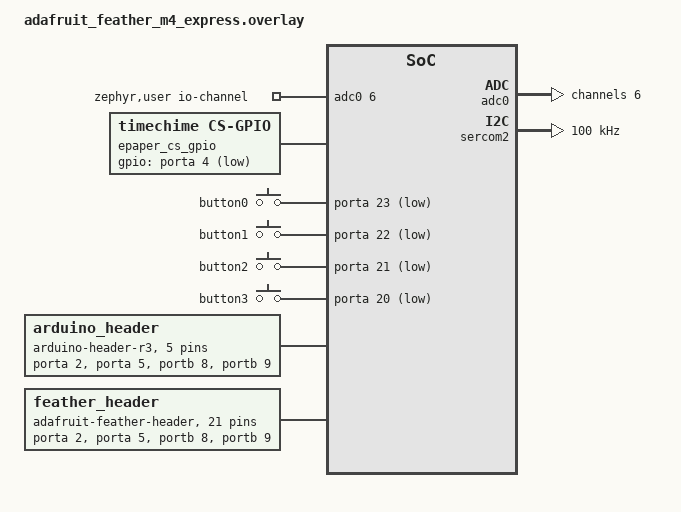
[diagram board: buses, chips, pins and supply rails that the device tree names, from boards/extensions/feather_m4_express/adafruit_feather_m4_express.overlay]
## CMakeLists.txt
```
cmake_minimum_required(VERSION 3.20.0)

# Allow local board extensions
list(APPEND BOARD_ROOT ${CMAKE_CURRENT_SOURCE_DIR})

# Add vs1053 driver
list(APPEND ZEPHYR_EXTRA_MODULES ${CMAKE_CURRENT_SOURCE_DIR}/drivers/vs1053)

set(SHIELD waveshare_epaper_gdew042t2)

find_package(Zephyr)
project(timechime)

# CMake's language init caches the host objcopy before the cross-toolchain can
# override it; force it to the SDK's ARM binary.
set(CMAKE_OBJCOPY "${CROSS_COMPILE}objcopy" CACHE FILEPATH "" FORCE)

FILE(GLOB app_sources src/*.c)
target_sources(app PRIVATE ${app_sources})
```

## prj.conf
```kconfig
CONFIG_LV_Z_MEM_POOL_SIZE=16384
CONFIG_MAIN_STACK_SIZE=8192

CONFIG_DISPLAY=y

CONFIG_INPUT=y

CONFIG_DISK_ACCESS=y
CONFIG_FILE_SYSTEM=y
CONFIG_FAT_FILESYSTEM_ELM=y
CONFIG_FS_FATFS_MOUNT_MKFS=y
CONFIG_DISK_DRIVER_SDMMC=y
CONFIG_SPI=y

CONFIG_AUDIO_VS1053=y

CONFIG_ADC=y

CONFIG_GNSS=y
CONFIG_GNSS_SATELLITES=y
CONFIG_LOG=y
CONFIG_LOG_BUFFER_SIZE=8192
CONFIG_GNSS_DUMP_TO_LOG=y
CONFIG_GNSS_DUMP_TO_LOG_BUF_SIZE=1024

CONFIG_LVGL=y
CONFIG_LV_Z_COLOR_MONO_HW_INVERSION=y
CONFIG_LV_USE_LABEL=y
CONFIG_LV_FONT_MONTSERRAT_14=y

CONFIG_USB_DEVICE_STACK_NEXT=y
```

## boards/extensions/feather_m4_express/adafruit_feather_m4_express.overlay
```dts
/*
 * Feather m4 express pin overlay
 * Map Arduino R3 + arduino_spi for screen compatibility.
 * Map additional GPIOs for navigation buttons.
 * Map Uart for GPS using gnss.
 * Map ADC GPIO to potentiometer for volume.
 *
 *   Arduino R3 | Feather pin | SAMD21 GPIO | Shield signal
 *   -----------+-------------+-------------+--------------
 *   D4         | A0          | PA02        | Unused SDHC CS
 *   D7         | A1          | PA05        | Busy
 *   D8         | A2          | PB08        | Reset
 *   D9         | A3          | PB09        | DC
 *   D10        | A4          | PA04        | E-paper CS
 *   MOSI       | D24         | PB23        | sercom1 MOSI
 *   SCK        | D25         | PA17        | sercom1 SCK
 *   ADC0[6]    | A5          | PA06        | Poteniometer ADC
 */

#include <zephyr/dt-bindings/adc/adc.h>
#include <zephyr/dt-bindings/gpio/arduino-header-r3.h>
#include <zephyr/dt-bindings/i2c/i2c.h>
#include <zephyr/dt-bindings/input/input-event-codes.h>

/ {
	aliases {
		gnss = &gnss;
		sw0 = &button0;
		sw1 = &button1;
		sw2 = &button2;
		sw3 = &button3;
	};

	zephyr,user {
		io-channels = <&adc0 6>;
	};

	epaper_cs_gpio: epaper-cs-gpio {
		compatible = "timechime,cs-gpio";
		gpios = <&porta 4 GPIO_ACTIVE_LOW>;
	};

	buttons {
		compatible = "gpio-keys";
		button0: button_0 {
			gpios = <&porta 23 (GPIO_PULL_UP | GPIO_ACTIVE_LOW)>;
			zephyr,code = <INPUT_KEY_0>;
		};
		button1: button_1 {
			gpios = <&porta 22 (GPIO_PULL_UP | GPIO_ACTIVE_LOW)>;
			zephyr,code = <INPUT_KEY_1>;
		};
		button2: button_2 {
			gpios = <&porta 21 (GPIO_PULL_UP | GPIO_ACTIVE_LOW)>;
			zephyr,code = <INPUT_KEY_2>;
		};
		button3: button_3 {
			gpios = <&porta 20 (GPIO_PULL_UP | GPIO_ACTIVE_LOW)>;
			zephyr,code = <INPUT_KEY_3>;
		};
	};

	arduino_header: connector {
		compatible = "arduino-header-r3";
		#gpio-cells = <2>;
		gpio-map-mask = <0xffffffff 0xffffffc0>;
		gpio-map-pass-thru = <0 0x3f>;
		gpio-map =
			<ARDUINO_HEADER_R3_D4  0 &porta 2 0>,
			<ARDUINO_HEADER_R3_D7  0 &porta 5 0>,
			<ARDUINO_HEADER_R3_D8  0 &portb 8 0>,
			<ARDUINO_HEADER_R3_D9  0 &portb 9 0>,
			<ARDUINO_HEADER_R3_D10 0 &porta 4 0>;
	};

	feather_header: feather_connector {
		compatible = "adafruit-feather-header";
		#gpio-cells = <2>;
		gpio-map-mask = <0xffffffff 0xffffffc0>;
		gpio-map-pass-thru = <0 0x3f>;
		gpio-map =
			< 0 0 &porta  2 0>,  /* A0  */
			< 1 0 &porta  5 0>,  /* A1  */
			< 2 0 &portb  8 0>,  /* A2  */
			< 3 0 &portb  9 0>,  /* A3  */
			< 4 0 &porta  4 0>,  /* A4  */
			< 5 0 &portb  5 0>,  /* A5  */
			< 6 0 &porta 17 0>,  /* SCK */
			< 7 0 &portb 23 0>,  /* MOSI */
			< 8 0 &portb 22 0>,  /* MISO */
			< 9 0 &portb 17 0>,  /* RX  */
			<10 0 &portb 16 0>,  /* TX  */
			<11 0 &porta 14 0>,  /* D4  */
			<12 0 &porta 12 0>,  /* SDA */
			<13 0 &porta 13 0>,  /* SCL */
			<14 0 &porta 16 0>,  /* D5  */
			<15 0 &porta 18 0>,  /* D6  */
			<16 0 &porta 19 0>,  /* D9  */
			<17 0 &porta 20 0>,  /* D10 */
			<18 0 &porta 21 0>,  /* D11 */
			<19 0 &porta 22 0>,  /* D12 */
			<20 0 &porta 23 0>;  /* D13 */
	};
};

&sercom5 {
	current-speed = <9600>;

	gnss: gnss-nmea-generic {
		compatible = "gnss-nmea-generic";
	};
};

&pinctrl {
	adc0_default: adc0_default {
		group1 {
			pinmux = <PA6B_ADC0_AIN6>;
		};
	};
};

&adc0 {
	status = "okay";
	pinctrl-0 = <&adc0_default>;
	pinctrl-names = "default";
	#address-cells = <1>;
	#size-cells = <0>;

	channel@6 {
		reg = <6>;
		zephyr,gain = "ADC_GAIN_1";
		zephyr,reference = "ADC_REF_INTERNAL";
		zephyr,acquisition-time = <ADC_ACQ_TIME_DEFAULT>;
		zephyr,resolution = <12>;
		zephyr,input-positive = <6>;
	};
};

arduino_spi: &sercom1 {
	/* Board DTS has dipo/dopo swapped: PB23 is physically MOSI (PAD3),
	 * PB22 is MISO (PAD2). dopo=2 → MOSI=PAD3, SCK=PAD1; dipo=2 → MISO=PAD2 */
	dipo = <2>;
	dopo = <2>;
};

feather_spi: &sercom1 {
	dipo = <2>;
	dopo = <2>;
};

feather_i2c: &sercom2 {
	compatible = "atmel,sam0-i2c";
	status = "okay";
	#address-cells = <1>;
	#size-cells = <0>;
	clock-frequency = <I2C_BITRATE_STANDARD>;
};
```

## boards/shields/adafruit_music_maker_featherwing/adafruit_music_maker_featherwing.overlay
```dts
/ {
	aliases {
		sdhc0 = &sdhc0_adafruit_music_maker_featherwing;
	};
};

/* Waveshare shield declares its own SD slot with disk-name "SD"; disable it to avoid conflict. */
&waveshare_epaper_sdhc {
	status = "disabled";
	mmc {
		status = "disabled";
	};
};

&feather_spi {
	status = "okay";
	cs-gpios = <&feather_header 14 GPIO_ACTIVE_LOW>, /* D5  - SD card  */
		   <&feather_header 15 GPIO_ACTIVE_LOW>;  /* D6  - VS1053 XCS */

	sdhc0_adafruit_music_maker_featherwing: sdhc@0 {
		compatible = "zephyr,sdhc-spi-slot";
		reg = <0>;
		spi-max-frequency = <12000000>;
		status = "okay";

		sdmmc {
			compatible = "zephyr,sdmmc-disk";
			disk-name = "SD";
			status = "okay";
		};
	};

	vs1053: vs1053@1 {
		compatible = "vlsi,vs1053";
		reg = <1>;
		/* SCI (control) clock; SDI uses sdi-max-frequency (default 8 MHz) */
		spi-max-frequency = <250000>;
		dreq-gpios = <&feather_header 16 GPIO_ACTIVE_HIGH>; /* D9  */
		dcs-gpios  = <&feather_header 17 GPIO_ACTIVE_LOW>;  /* D10 */
		status = "okay";
	};
};
```

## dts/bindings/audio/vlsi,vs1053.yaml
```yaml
description: VLSI VS1053b SPI audio DSP codec

compatible: "vlsi,vs1053"

include: spi-device.yaml

properties:
  dreq-gpios:
    type: phandle-array
    required: true
    description: |
      Data request GPIO (DREQ). Goes high when device is ready for more data.

  dcs-gpios:
    type: phandle-array
    required: true
    description: |
      SDI chip-select GPIO (XDCS).

  reset-gpios:
    type: phandle-array
    required: false
    description: |
      Hardware reset GPIO (XRESET).

  sdi-max-frequency:
    type: int
    default: 8000000
    description: |
      Maximum SPI clock frequency in Hz for the SDI interface.
      Supports up to ~7.28 MHz at 3.3 V.
      Default to 8 MHz.
```

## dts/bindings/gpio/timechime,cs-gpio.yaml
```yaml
description: Standalone chip-select GPIO pin.

compatible: "timechime,cs-gpio"

properties:
  gpios:
    type: phandle-array
    required: true
```

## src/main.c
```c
#include <zephyr/kernel.h>
#include <zephyr/fs/fs.h>
#include <ff.h>

#include "alarm.h"
#include "nav.h"
#include "pot.h"
#include "sound.h"
#include "time.h"
#include "usb.h"
#include "settings.h"

static FATFS fat_fs;
static struct fs_mount_t mp = {
	.type = FS_FATFS,
	.fs_data = &fat_fs,
	.mnt_point = "/SD:",
};

int main(void)
{
	fs_mount(&mp);

	timechime_usb_init();
	timechime_nav_init();
	timechime_alarm_init();
	timechime_pot_init();
	timechime_sound_init();
	timechime_time_load_preferences();

	while (1) {
		timechime_nav_update();
		timechime_alarm_update();
		timechime_sound_update();
		k_sleep(K_MSEC(100));
	}

	return 0;
}
```

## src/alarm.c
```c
#include "alarm.h"
#include "settings.h"
#include "sound.h"
#include "time.h"

static timechime_alarm_t alarms[TIMECHIME_MAX_ALARMS];
static uint8_t num_alarms = 0;

static bool alarms_need_save = false;

void timechime_alarm_init()
{
	num_alarms = timechime_settings_load_alarms(alarms, TIMECHIME_MAX_ALARMS);
}

void timechime_alarm_update()
{
	if (alarms_need_save) {
		timechime_settings_save_alarms(alarms, num_alarms);
		alarms_need_save = false;
	}
}

bool timechime_alarm_get(uint8_t index, timechime_alarm_t **alarm)
{
	if (index >= num_alarms) {
		return false;
	}

	*alarm = &alarms[index];
	return true;
}

uint8_t timechime_alarm_get_count()
{
	return num_alarms;
}

bool timechime_alarm_new(uint8_t hour, uint8_t minute, uint8_t sound_id, bool enabled)
{
	if (num_alarms >= TIMECHIME_MAX_ALARMS) {
		return false;
	}

	alarms[num_alarms].hour = hour;
	alarms[num_alarms].minute = minute;
	alarms[num_alarms].sound_id = sound_id;
	alarms[num_alarms].enabled = enabled;

	num_alarms++;

	alarms_need_save = true;
	return true;
}

bool timechime_alarm_delete(uint8_t index)
{
	if (index >= num_alarms) {
		return false;
	}

	for (uint8_t i = index; i < num_alarms - 1; i++) {
		alarms[i] = alarms[i + 1];
	}

	num_alarms--;

	alarms_need_save = true;
	return true;
}

void timechime_alarm_check_and_queue()
{
	uint8_t current_hour = timechime_time_get_current_hour_24();
	uint8_t current_minute = timechime_time_get_current_minute();

	for (uint8_t i = 0; i < num_alarms; i++) {
		timechime_alarm_t *alarm = &alarms[i];

		if (alarm->enabled && alarm->hour == current_hour &&
		    alarm->minute == current_minute) {
			char sound_file[65];
			timechime_queue_sound_play(alarm->sound_id);
			break;
		}
	}
}

void timechime_alarm_toggle_enabled(uint8_t index)
{
	if (index >= num_alarms) {
		return;
	}

	alarms[index].enabled = !alarms[index].enabled;
	alarms_need_save = true;
}

void timechime_alarm_set_sound(uint8_t index, uint8_t sound_id)
{
	if (index >= num_alarms) {
		return;
	}

	alarms[index].sound_id = sound_id;
	alarms_need_save = true;
}

uint8_t timechime_alarm_get_next(uint8_t current_hour, uint8_t current_minute)
{
	uint16_t current_total = current_hour * 60 + current_minute;
	uint8_t next_index = TIMECHIME_MAX_ALARMS;
	uint16_t next_diff = 0;

	for (uint8_t i = 0; i < num_alarms; i++) {
		timechime_alarm_t *alarm = &alarms[i];
		if (!alarm->enabled) {
			continue;
		}

		uint16_t alarm_total = alarm->hour * 60 + alarm->minute;
		uint16_t diff = (alarm_total + 1440 - current_total) % 1440;

		// Ignore alarm going off now
		if (diff == 0) {
			diff = 1440;
		}

		if (next_index == TIMECHIME_MAX_ALARMS || diff < next_diff) {
			next_index = i;
			next_diff = diff;
		}
	}

	return next_index;
}
```

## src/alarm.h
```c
#ifndef TIMECHIME_ALARM_H
#define TIMECHIME_ALARM_H

#include <stdint.h>
#include <stdbool.h>

#define TIMECHIME_MAX_ALARMS 25

typedef struct {
	uint8_t hour;
	uint8_t minute;
	uint8_t sound_id;
	bool enabled;
} timechime_alarm_t;

// Initialize the alarm system and load alarms from storage.
void timechime_alarm_init();

// Update alarms called repeatedly.
void timechime_alarm_update();

// Get the alarm at the specified index by reference.
bool timechime_alarm_get(uint8_t index, timechime_alarm_t **alarm);

// Get the number of alarms currently stored.
uint8_t timechime_alarm_get_count();

// Create a new alarm if there is space.
bool timechime_alarm_new(uint8_t hour, uint8_t minute, uint8_t sound_id, bool enabled);

// Delete the alarm at the specified index.
bool timechime_alarm_delete(uint8_t index);

// Check if alarm should be played and queue if so.
void timechime_alarm_check_and_queue();

// Toggle alarm to be enabled/disabled by index.
void timechime_alarm_toggle_enabled(uint8_t index);

// Set the sound for the alarm at the specified index.
void timechime_alarm_set_sound(uint8_t index, uint8_t sound_id);

// Get the next alarm that will trigger after the current time.
uint8_t timechime_alarm_get_next(uint8_t current_hour, uint8_t current_minute);

#endif
```

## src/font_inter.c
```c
/*******************************************************************************
 * Size: 40 px
 * Bpp: 1
 * Opts: --bpp 1 --size 40 --no-compress --stride 1 --align 1 --font Inter-ExtraBoldItalic.ttf --symbols 01234567890:ONFAMP --format lvgl -o font_inter.c
 ******************************************************************************/

#ifdef __has_include
    #if __has_include("lvgl.h")
        #ifndef LV_LVGL_H_INCLUDE_SIMPLE
            #define LV_LVGL_H_INCLUDE_SIMPLE
        #endif
    #endif
#endif

#ifdef LV_LVGL_H_INCLUDE_SIMPLE
    #include "lvgl.h"
#else
    #include "lvgl/lvgl.h"
#endif



#ifndef FONT_INTER
#define FONT_INTER 1
#endif

#if FONT_INTER

/*-----------------
 *    BITMAPS
 *----------------*/

/*Store the image of the glyphs*/
static LV_ATTRIBUTE_LARGE_CONST const uint8_t glyph_bitmap[] = {
    /* U+0030 "0" */
    0x0, 0xf, 0xf0, 0x0, 0xf, 0xff, 0x80, 0x3,
    0xff, 0xf8, 0x0, 0xff, 0xff, 0x80, 0x3f, 0xff,
    0xf8, 0xf, 0xf0, 0xff, 0x3, 0xfc, 0xf, 0xe0,
    0x7f, 0x1, 0xfe, 0x1f, 0xc0, 0x1f, 0xc3, 0xf8,
    0x3, 0xf8, 0xfe, 0x0, 0x7f, 0x1f, 0xc0, 0xf,
    0xe3, 0xf8, 0x1, 0xfc, 0xfe, 0x0, 0x3f, 0x9f,
    0xc0, 0x7, 0xf3, 0xf8, 0x1, 0xfc, 0x7f, 0x0,
    0x3f, 0x8f, 0xe0, 0x7, 0xf1, 0xfc, 0x0, 0xfe,
    0x3f, 0x80, 0x3f, 0x87, 0xf0, 0x7, 0xf0, 0xfe,
    0x1, 0xfc, 0x1f, 0xe0, 0x7f, 0x81, 0xfe, 0x1f,
    0xe0, 0x3f, 0xff, 0xf8, 0x3, 0xff, 0xfe, 0x0,
    0x3f, 0xff, 0x80, 0x3, 0xff, 0xe0, 0x0, 0x1f,
    0xe0, 0x0,

    /* U+0031 "1" */
    0x1, 0xfe, 0x7, 0xfc, 0x3f, 0xf8, 0xff, 0xf7,
    0xff, 0xef, 0xff, 0xdf, 0x7f, 0x3c, 0xfe, 0xe1,
    0xfd, 0x83, 0xf8, 0x7, 0xf0, 0xf, 0xe0, 0x3f,
    0x80, 0x7f, 0x0, 0xfe, 0x1, 0xfc, 0x3, 0xf8,
    0x7, 0xf0, 0x1f, 0xc0, 0x3f, 0x80, 0x7f, 0x0,
    0xfe, 0x1, 0xfc, 0x3, 0xf8, 0xf, 0xe0, 0x1f,
    0xc0, 0x3f, 0x80, 0x7f, 0x0, 0xfe, 0x0,

    /* U+0032 "2" */
    0x0, 0x1f, 0xe0, 0x0, 0x3f, 0xfc, 0x0, 0x7f,
    0xff, 0x80, 0x7f, 0xff, 0xe0, 0x7f, 0xff, 0xf0,
    0x3f, 0xc3, 0xfc, 0x3f, 0x80, 0xfe, 0x1f, 0x80,
    0x7f, 0x1f, 0xc0, 0x3f, 0x80, 0x0, 0x1f, 0xc0,
    0x0, 0xf, 0xc0, 0x0, 0xf, 0xe0, 0x0, 0xf,
    0xf0, 0x0, 0xf, 0xf0, 0x0, 0xf, 0xf0, 0x0,
    0x1f, 0xf0, 0x0, 0x1f, 0xf0, 0x0, 0x1f, 0xf0,
    0x0, 0x3f, 0xf0, 0x0, 0x3f, 0xf0, 0x0, 0x3f,
    0xe0, 0x0, 0x3f, 0xe0, 0x0, 0x7f, 0xe0, 0x0,
    0x7f, 0xe0, 0x0, 0x7f, 0xff, 0xfe, 0x3f, 0xff,
    0xfe, 0x1f, 0xff, 0xff, 0xf, 0xff, 0xff, 0x8f,
    0xff, 0xff, 0xc0,

    /* U+0033 "3" */
    0x0, 0x1f, 0xe0, 0x0, 0x7f, 0xfc, 0x0, 0x7f,
    0xff, 0x80, 0xff, 0xff, 0xc0, 0xff, 0xff, 0xf0,
    0x7f, 0x87, 0xf8, 0x7f, 0x1, 0xfc, 0x3f, 0x80,
    0x7e, 0x0, 0x0, 0x7f, 0x0, 0x0, 0x3f, 0x80,
    0x0, 0x7f, 0x80, 0x7, 0xff, 0x80, 0x3, 0xff,
    0x0, 0x3, 0xfe, 0x0, 0x1, 0xff, 0xe0, 0x0,
    0xff, 0xf8, 0x0, 0x3, 0xfe, 0x0, 0x0, 0xff,
    0x0, 0x0, 0x3f, 0x80, 0x0, 0x1f, 0xcf, 0xe0,
    0xf, 0xe7, 0xf0, 0x7, 0xf3, 0xfc, 0x7, 0xf9,
    0xff, 0xf, 0xf8, 0x7f, 0xff, 0xf8, 0x1f, 0xff,
    0xf8, 0xf, 0xff, 0xf8, 0x1, 0xff, 0xf0, 0x0,
    0x3f, 0xe0, 0x0,

    /* U+0034 "4" */
    0x0, 0x1, 0xff, 0x0, 0x0, 0xff, 0x80, 0x0,
    0xff, 0xc0, 0x0, 0xff, 0xe0, 0x0, 0xff, 0xf0,
    0x0, 0xff, 0xf8, 0x0, 0x7f, 0xf8, 0x0, 0x7f,
    0xfc, 0x0, 0x7f, 0x7e, 0x0, 0x7f, 0x7f, 0x0,
    0x7f, 0x3f, 0x80, 0x7f, 0x1f, 0xc0, 0x3f, 0x8f,
    0xc0, 0x3f, 0x87, 0xe0, 0x3f, 0x83, 0xf0, 0x3f,
    0x83, 0xf8, 0x3f, 0xc1, 0xfc, 0x1f, 0xc0, 0xfe,
    0x1f, 0xc0, 0x7e, 0xf, 0xff, 0xff, 0xff, 0xff,
    0xff, 0xff, 0xff, 0xff, 0xfb, 0xff, 0xff, 0xfd,
    0xff, 0xff, 0xfe, 0x0, 0x3, 0xf0, 0x0, 0x1,
    0xf8, 0x0, 0x1, 0xfc, 0x0, 0x0, 0xfe, 0x0,
    0x0, 0x7f, 0x0,

    /* U+0035 "5" */
    0x7, 0xff, 0xff, 0x7, 0xff, 0xff, 0x7, 0xff,
    0xff, 0x7, 0xff, 0xfe, 0xf, 0xff, 0xfe, 0xf,
    0xc0, 0x0, 0xf, 0xc0, 0x0, 0xf, 0xc0, 0x0,
    0x1f, 0x80, 0x0, 0x1f, 0x8f, 0xc0, 0x1f, 0xbf,
    0xf0, 0x1f, 0xff, 0xf8, 0x3f, 0xff, 0xfc, 0x3f,
    0xff, 0xfc, 0x3f, 0xc3, 0xfc, 0xf, 0x1, 0xfe,
    0x0, 0x0, 0xfe, 0x0, 0x0, 0xfe, 0x0, 0x0,
    0xfe, 0x0, 0x0, 0xfc, 0xfe, 0x1, 0xfc, 0xfe,
    0x1, 0xfc, 0xfe, 0x3, 0xf8, 0xff, 0x7, 0xf8,
    0x7f, 0xff, 0xf0, 0x7f, 0xff, 0xe0, 0x3f, 0xff,
    0xc0, 0xf, 0xff, 0x0, 0x3, 0xfc, 0x0,

    /* U+0036 "6" */
    0x0, 0xf, 0xe0, 0x0, 0x3f, 0xfe, 0x0, 0x3f,
    0xff, 0x80, 0x3f, 0xff, 0xe0, 0x3f, 0xff, 0xf0,
    0x3f, 0xff, 0xfc, 0x3f, 0xe1, 0xfe, 0x1f, 0xc0,
    0x7f, 0x1f, 0xc0, 0x0, 0xf, 0xc3, 0xf0, 0xf,
    0xe7, 0xfe, 0x7, 0xf7, 0xff, 0x83, 0xf7, 0xff,
    0xe3, 0xff, 0xff, 0xf1, 0xff, 0x87, 0xfc, 0xff,
    0x81, 0xfe, 0x7f, 0x80, 0x7f, 0x3f, 0x80, 0x3f,
    0x9f, 0xc0, 0x1f, 0xcf, 0xe0, 0xf, 0xc7, 0xf0,
    0x7, 0xe3, 0xf8, 0x7, 0xf1, 0xfc, 0x7, 0xf0,
    0x7f, 0x87, 0xf8, 0x3f, 0xff, 0xf8, 0xf, 0xff,
    0xf8, 0x3, 0xff, 0xf8, 0x0, 0xff, 0xf8, 0x0,
    0xf, 0xe0, 0x0,

    /* U+0037 "7" */
    0x1f, 0xff, 0xff, 0x1f, 0xff, 0xff, 0x1f, 0xff,
    0xff, 0x1f, 0xff, 0xff, 0x3f, 0xff, 0xff, 0x0,
    0x0, 0xfe, 0x0, 0x1, 0xfe, 0x0, 0x3, 0xfc,
    0x0, 0x3, 0xf8, 0x0, 0x7, 0xf8, 0x0, 0xf,
    0xf0, 0x0, 0xf, 0xe0, 0x0, 0x1f, 0xe0, 0x0,
    0x3f, 0xc0, 0x0, 0x3f, 0x80, 0x0, 0x7f, 0x80,
    0x0, 0xff, 0x0, 0x0, 0xfe, 0x0, 0x1, 0xfe,
    0x0, 0x3, 0xfc, 0x0, 0x3, 0xf8, 0x0, 0x7,
    0xf8, 0x0, 0x7, 0xf0, 0x0, 0xf, 0xe0, 0x0,
    0x1f, 0xe0, 0x0, 0x1f, 0xc0, 0x0, 0x3f, 0x80,
    0x0, 0x7f, 0x80, 0x0, 0x7f, 0x0, 0x0,

    /* U+0038 "8" */
    0x0, 0x1f, 0xe0, 0x0, 0x7f, 0xfe, 0x0, 0x7f,
    0xff, 0x80, 0xff, 0xff, 0xe0, 0x7f, 0xff, 0xf0,
    0x7f, 0x83, 0xfc, 0x3f, 0x80, 0xfe, 0x3f, 0x80,
    0x7f, 0x1f, 0xc0, 0x3f, 0xf, 0xe0, 0x3f, 0x83,
    0xf8, 0x3f, 0x80, 0xff, 0xff, 0x80, 0x3f, 0xff,
    0x0, 0xf, 0xff, 0x0, 0x3f, 0xff, 0xe0, 0x3f,
    0xff, 0xf8, 0x3f, 0xc1, 0xfe, 0x3f, 0xc0, 0x7f,
    0x1f, 0xc0, 0x3f, 0x9f, 0xe0, 0x1f, 0xef, 0xe0,
    0xf, 0xe7, 0xf0, 0x7, 0xf3, 0xfc, 0x7, 0xf9,
    0xff, 0x7, 0xf8, 0x7f, 0xff, 0xfc, 0x3f, 0xff,
    0xfc, 0xf, 0xff, 0xfc, 0x1, 0xff, 0xf8, 0x0,
    0x3f, 0xe0, 0x0,

    /* U+0039 "9" */
    0x0, 0x1f, 0xc0, 0x0, 0x7f, 0xfc, 0x0, 0x7f,
    0xff, 0x0, 0xff, 0xff, 0xc0, 0xff, 0xff, 0xf0,
    0x7f, 0x87, 0xf8, 0x7f, 0x1, 0xfc, 0x3f, 0x0,
    0x7f, 0x3f, 0x80, 0x3f, 0x9f, 0xc0, 0x1f, 0xcf,
    0xe0, 0xf, 0xe7, 0xf0, 0xf, 0xf3, 0xf8, 0xf,
    0xf9, 0xfe, 0xf, 0xfc, 0xff, 0xff, 0xfc, 0x3f,
    0xff, 0xfe, 0x1f, 0xff, 0x7f, 0x7, 0xff, 0x3f,
    0x80, 0xfe, 0x3f, 0x80, 0x0, 0x1f, 0xcf, 0xe0,
    0x1f, 0xe3, 0xf8, 0x1f, 0xe1, 0xfe, 0x1f, 0xf0,
    0xff, 0xff, 0xf0, 0x7f, 0xff, 0xf0, 0x1f, 0xff,
    0xf0, 0x7, 0xff, 0xf0, 0x0, 0xff, 0xf0, 0x0,
    0x1f, 0xc0, 0x0,

    /* U+003A ":" */
    0xf, 0x7, 0xe1, 0xfc, 0xff, 0x3f, 0xc7, 0xe0,
    0xf0, 0x0, 0x0, 0x0, 0x0, 0x0, 0x0, 0x0,
    0x0, 0x3, 0xc1, 0xf8, 0xfe, 0x3f, 0x8f, 0xe1,
    0xf8, 0x3c, 0x0,

    /* U+0041 "A" */
    0x0, 0x3, 0xff, 0x0, 0x0, 0x1f, 0xf8, 0x0,
    0x1, 0xff, 0xc0, 0x0, 0xf, 0xff, 0x0, 0x0,
    0xff, 0xf8, 0x0, 0x7, 0xff, 0xc0, 0x0, 0x7f,
    0x7e, 0x0, 0x3, 0xfb, 0xf0, 0x0, 0x3f, 0x9f,
    0x80, 0x1, 0xfc, 0xfe, 0x0, 0x1f, 0xe7, 0xf0,
    0x0, 0xfe, 0x3f, 0x80, 0xf, 0xf1, 0xfc, 0x0,
    0x7f, 0xf, 0xe0, 0x7, 0xf8, 0x7f, 0x0, 0x3f,
    0xc3, 0xfc, 0x3, 0xfc, 0xf, 0xe0, 0x1f, 0xe0,
    0x7f, 0x1, 0xff, 0xff, 0xf8, 0xf, 0xff, 0xff,
    0xc0, 0xff, 0xff, 0xff, 0x7, 0xff, 0xff, 0xf8,
    0x7f, 0xff, 0xff, 0xc3, 0xfc, 0x0, 0xfe, 0x3f,
    0xc0, 0x7, 0xf1, 0xfe, 0x0, 0x3f, 0x9f, 0xe0,
    0x1, 0xfe, 0xff, 0x0, 0xf, 0xff, 0xf0, 0x0,
    0x3f, 0x80,

    /* U+0046 "F" */
    0x7, 0xff, 0xff, 0x83, 0xff, 0xff, 0xc1, 0xff,
    0xff, 0xe0, 0xff, 0xff, 0xe0, 0x7f, 0xff, 0xf0,
    0x7f, 0x0, 0x0, 0x3f, 0x80, 0x0, 0x1f, 0xc0,
    0x0, 0xf, 0xe0, 0x0, 0x7, 0xf0, 0x0, 0x3,
    0xf0, 0x0, 0x3, 0xf8, 0x0, 0x1, 0xfc, 0x0,
    0x0, 0xff, 0xff, 0xe0, 0x7f, 0xff, 0xe0, 0x3f,
    0xff, 0xf0, 0x1f, 0xff, 0xf8, 0x1f, 0xff, 0xfc,
    0xf, 0xe0, 0x0, 0x7, 0xf0, 0x0, 0x3, 0xf8,
    0x0, 0x1, 0xfc, 0x0, 0x0, 0xfc, 0x0, 0x0,
    0xfe, 0x0, 0x0, 0x7f, 0x0, 0x0, 0x3f, 0x80,
    0x0, 0x1f, 0xc0, 0x0, 0xf, 0xe0, 0x0, 0x7,
    0xe0, 0x0, 0x0,

    /* U+004D "M" */
    0x7, 0xff, 0x0, 0x1f, 0xfc, 0x1f, 0xfc, 0x0,
    0x7f, 0xf0, 0x7f, 0xf0, 0x3, 0xff, 0xc1, 0xff,
    0xe0, 0xf, 0xff, 0x7, 0xff, 0x80, 0x3f, 0xfc,
    0x3f, 0xfe, 0x1, 0xff, 0xf0, 0xff, 0xf8, 0x7,
    0xff, 0x83, 0xff, 0xe0, 0x3f, 0xfe, 0xf, 0xff,
    0x80, 0xff, 0xf8, 0x3f, 0x7f, 0x7, 0xef, 0xe0,
    0xfd, 0xfc, 0x1f, 0xbf, 0x87, 0xf7, 0xf0, 0xfc,
    0xfe, 0x1f, 0xcf, 0xc3, 0xf3, 0xf0, 0x7f, 0x3f,
    0x1f, 0xdf, 0xc1, 0xfc, 0xfc, 0x7e, 0x7f, 0x7,
    0xf3, 0xf3, 0xf9, 0xfc, 0x1f, 0x8f, 0xcf, 0xc7,
    0xf0, 0xfe, 0x3f, 0x3f, 0x1f, 0xc3, 0xf8, 0xfd,
    0xf8, 0xfe, 0xf, 0xe1, 0xf7, 0xe3, 0xf8, 0x3f,
    0x87, 0xdf, 0xf, 0xe0, 0xfe, 0x1f, 0xfc, 0x3f,
    0x83, 0xf0, 0x7f, 0xe0, 0xfe, 0x1f, 0xc1, 0xff,
    0x83, 0xf8, 0x7f, 0x7, 0xfc, 0x1f, 0xc1, 0xfc,
    0xf, 0xf0, 0x7f, 0x7, 0xf0, 0x3f, 0x81, 0xfc,
    0x1f, 0xc0, 0xfe, 0x7, 0xf0, 0x7e, 0x3, 0xf0,
    0x1f, 0xc0,

    /* U+004E "N" */
    0x7, 0xf8, 0x0, 0xfe, 0xf, 0xf0, 0x1, 0xfc,
    0x1f, 0xf0, 0x3, 0xf8, 0x3f, 0xe0, 0x7, 0xf0,
    0x7f, 0xe0, 0xf, 0xe1, 0xff, 0xc0, 0x3f, 0x83,
    0xff, 0xc0, 0x7f, 0x7, 0xff, 0x80, 0xfe, 0xf,
    0xff, 0x81, 0xfc, 0x1f, 0xbf, 0x3, 0xf8, 0x3f,
    0x7f, 0x7, 0xf0, 0xfe, 0xfe, 0x1f, 0xc1, 0xfc,
    0xfc, 0x3f, 0x83, 0xf9, 0xfc, 0x7f, 0x7, 0xf3,
    0xf8, 0xfe, 0xf, 0xe3, 0xf9, 0xfc, 0x1f, 0xc7,
    0xf3, 0xf8, 0x7f, 0x7, 0xe7, 0xe0, 0xfe, 0xf,
    0xff, 0xc1, 0xfc, 0xf, 0xff, 0x83, 0xf8, 0x1f,
    0xff, 0x7, 0xf0, 0x1f, 0xfe, 0xf, 0xe0, 0x3f,
    0xfc, 0x3f, 0x80, 0x7f, 0xf0, 0x7f, 0x0, 0x7f,
    0xe0, 0xfe, 0x0, 0xff, 0xc1, 0xfc, 0x0, 0xff,
    0x83, 0xf8, 0x1, 0xff, 0x7, 0xf0, 0x1, 0xfe,
    0x0,

    /* U+004F "O" */
    0x0, 0xf, 0xf0, 0x0, 0x7, 0xff, 0xe0, 0x1,
    0xff, 0xff, 0x0, 0x3f, 0xff, 0xf8, 0x7, 0xff,
    0xff, 0xc0, 0xff, 0xff, 0xfe, 0x1f, 0xf8, 0x3f,
    0xe1, 0xfe, 0x0, 0xff, 0x3f, 0xc0, 0x7, 0xf3,
    0xf8, 0x0, 0x7f, 0x7f, 0x80, 0x7, 0xf7, 0xf0,
    0x0, 0x7f, 0x7f, 0x0, 0x7, 0xff, 0xf0, 0x0,
    0x7f, 0xfe, 0x0, 0x7, 0xff, 0xe0, 0x0, 0x7f,
    0xfe, 0x0, 0xf, 0xff, 0xe0, 0x0, 0xfe, 0xfe,
    0x0, 0x1f, 0xef, 0xe0, 0x1, 0xfe, 0xff, 0x0,
    0x3f, 0xc7, 0xf0, 0x7, 0xf8, 0x7f, 0xc1, 0xff,
    0x87, 0xff, 0xff, 0xf0, 0x3f, 0xff, 0xfe, 0x1,
    0xff, 0xff, 0xc0, 0xf, 0xff, 0xf8, 0x0, 0x7f,
    0xfe, 0x0, 0x0, 0xff, 0x0, 0x0,

    /* U+0050 "P" */
    0x7, 0xff, 0xf8, 0x0, 0xff, 0xff, 0xc0, 0x1f,
    0xff, 0xfc, 0x3, 0xff, 0xff, 0xc0, 0x7f, 0xff,
    0xfc, 0x1f, 0xc0, 0xff, 0x83, 0xf8, 0xf, 0xf0,
    0x7f, 0x0, 0xfe, 0xf, 0xe0, 0x1f, 0xc1, 0xfc,
    0x3, 0xf8, 0x3f, 0x0, 0x7f, 0xf, 0xe0, 0xf,
    0xe1, 0xfc, 0x3, 0xf8, 0x3f, 0x80, 0xff, 0x7,
    0xf0, 0x3f, 0xc0, 0xff, 0xff, 0xf8, 0x1f, 0xff,
    0xfe, 0x7, 0xff, 0xff, 0x80, 0xff, 0xff, 0xc0,
    0x1f, 0xff, 0xe0, 0x3, 0xf8, 0x0, 0x0, 0x7f,
    0x0, 0x0, 0xf, 0xc0, 0x0, 0x3, 0xf8, 0x0,
    0x0, 0x7f, 0x0, 0x0, 0xf, 0xe0, 0x0, 0x1,
    0xfc, 0x0, 0x0, 0x3f, 0x80, 0x0, 0x7, 0xe0,
    0x0, 0x0
};


/*---------------------
 *  GLYPH DESCRIPTION
 *--------------------*/

static const lv_font_fmt_txt_glyph_dsc_t glyph_dsc[] = {
    {.bitmap_index = 0, .adv_w = 0, .box_w = 0, .box_h = 0, .ofs_x = 0, .ofs_y = 0} /* id = 0 reserved */,
    {.bitmap_index = 0, .adv_w = 443, .box_w = 27, .box_h = 29, .ofs_x = 1, .ofs_y = 0},
    {.bitmap_index = 98, .adv_w = 283, .box_w = 15, .box_h = 29, .ofs_x = 3, .ofs_y = 0},
    {.bitmap_index = 153, .adv_w = 408, .box_w = 25, .box_h = 29, .ofs_x = 0, .ofs_y = 0},
    {.bitmap_index = 244, .adv_w = 420, .box_w = 25, .box_h = 29, .ofs_x = 1, .ofs_y = 0},
    {.bitmap_index = 335, .adv_w = 441, .box_w = 25, .box_h = 29, .ofs_x = 1, .ofs_y = 0},
    {.bitmap_index = 426, .adv_w = 406, .box_w = 24, .box_h = 29, .ofs_x = 1, .ofs_y = 0},
    {.bitmap_index = 513, .adv_w = 423, .box_w = 25, .box_h = 29, .ofs_x = 1, .ofs_y = 0},
    {.bitmap_index = 604, .adv_w = 376, .box_w = 24, .box_h = 29, .ofs_x = 1, .ofs_y = 0},
    {.bitmap_index = 691, .adv_w = 425, .box_w = 25, .box_h = 29, .ofs_x = 1, .ofs_y = 0},
    {.bitmap_index = 782, .adv_w = 423, .box_w = 25, .box_h = 29, .ofs_x = 1, .ofs_y = 0},
    {.bitmap_index = 873, .adv_w = 226, .box_w = 10, .box_h = 21, .ofs_x = 2, .ofs_y = 0},
    {.bitmap_index = 900, .adv_w = 493, .box_w = 29, .box_h = 29, .ofs_x = -1, .ofs_y = 0},
    {.bitmap_index = 1006, .adv_w = 375, .box_w = 25, .box_h = 29, .ofs_x = 0, .ofs_y = 0},
    {.bitmap_index = 1097, .adv_w = 604, .box_w = 38, .box_h = 29, .ofs_x = 0, .ofs_y = 0},
    {.bitmap_index = 1235, .adv_w = 490, .box_w = 31, .box_h = 29, .ofs_x = 0, .ofs_y = 0},
    {.bitmap_index = 1348, .adv_w = 495, .box_w = 28, .box_h = 29, .ofs_x = 2, .ofs_y = 0},
    {.bitmap_index = 1450, .adv_w = 417, .box_w = 27, .box_h = 29, .ofs_x = 0, .ofs_y = 0}
};

/*---------------------
 *  CHARACTER MAPPING
 *--------------------*/

static const uint16_t unicode_list_1[] = {
    0x0, 0x5, 0xc, 0xd, 0xe, 0xf
};

/*Collect the unicode lists and glyph_id offsets*/
static const lv_font_fmt_txt_cmap_t cmaps[] =
{
    {
        .range_start = 48, .range_length = 11, .glyph_id_start = 1,
        .unicode_list = NULL, .glyph_id_ofs_list = NULL, .list_length = 0, .type = LV_FONT_FMT_TXT_CMAP_FORMAT0_TINY
    },
    {
        .range_start = 65, .range_length = 16, .glyph_id_start = 12,
        .unicode_list = unicode_list_1, .glyph_id_ofs_list = NULL, .list_length = 6, .type = LV_FONT_FMT_TXT_CMAP_SPARSE_TINY
    }
};

/*-----------------
 *    KERNING
 *----------------*/


/*Pair left and right glyphs for kerning*/
static const uint8_t kern_pair_glyph_ids[] =
{
    1, 8,
    3, 5,
    5, 2,
    8, 1,
    8, 4,
    8, 5,
    8, 6,
    8, 7,
    8, 8,
    8, 9,
    8, 10,
    8, 11,
    10, 8
};

/* Kerning between the respective left and right glyphs
 * 4.4 format which needs to scaled with `kern_scale`*/
static const int8_t kern_pair_values[] =
{
    -12, -10, -29, -10, -11, -37, -6, -10,
    13, -9, -6, -22, -12
};

/*Collect the kern pair's data in one place*/
static const lv_font_fmt_txt_kern_pair_t kern_pairs =
{
    .glyph_ids = kern_pair_glyph_ids,
    .values = kern_pair_values,
    .pair_cnt = 13,
    .glyph_ids_size = 0
};

/*--------------------
 *  ALL CUSTOM DATA
 *--------------------*/

#if LVGL_VERSION_MAJOR == 8
/*Store all the custom data of the font*/
static  lv_font_fmt_txt_glyph_cache_t cache;
#endif

#if LVGL_VERSION_MAJOR >= 8
static const lv_font_fmt_txt_dsc_t font_dsc = {
#else
static lv_font_fmt_txt_dsc_t font_dsc = {
#endif
    .glyph_bitmap = glyph_bitmap,
    .glyph_dsc = glyph_dsc,
    .cmaps = cmaps,
    .kern_dsc = &kern_pairs,
    .kern_scale = 16,
    .cmap_num = 2,
    .bpp = 1,
    .kern_classes = 0,
    .bitmap_format = 0,
#if LVGL_VERSION_MAJOR == 8
    .cache = &cache
#endif

};



/*-----------------
 *  PUBLIC FONT
 *----------------*/

/*Initialize a public general font descriptor*/
#if LVGL_VERSION_MAJOR >= 8
const lv_font_t font_inter = {
#else
lv_font_t font_inter = {
#endif
    .get_glyph_dsc = lv_font_get_glyph_dsc_fmt_txt,    /*Function pointer to get glyph's data*/
    .get_glyph_bitmap = lv_font_get_bitmap_fmt_txt,    /*Function pointer to get glyph's bitmap*/
    .line_height = 29,          /*The maximum line height required by the font*/
    .base_line = 0,             /*Baseline measured from the bottom of the line*/
#if !(LVGL_VERSION_MAJOR == 6 && LVGL_VERSION_MINOR == 0)
    .subpx = LV_FONT_SUBPX_NONE,
#endif
#if LV_VERSION_CHECK(7, 4, 0) || LVGL_VERSION_MAJOR >= 8
    .underline_position = -6,
    .underline_thickness = 4,
#endif
    .static_bitmap = 0,
    .dsc = &font_dsc,          /*The custom font data. Will be accessed by `get_glyph_bitmap/dsc` */
#if LV_VERSION_CHECK(8, 2, 0) || LVGL_VERSION_MAJOR >= 9
    .fallback = NULL,
#endif
    .user_data = NULL,
};



#endif /*#if FONT_INTER*/
```

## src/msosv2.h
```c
/*
 * Copyright (c) 2016-2019 Intel Corporation
 * Copyright (c) 2023-2024 Nordic Semiconductor ASA
 *
 * SPDX-License-Identifier: Apache-2.0
 */

#ifndef ZEPHYR_INCLUDE_MSOSV2_DESCRIPTOR_H
#define ZEPHYR_INCLUDE_MSOSV2_DESCRIPTOR_H

/*
 * Microsoft OS 2.0 platform capability and Microsoft OS 2.0 descriptor set.
 * See Microsoft OS 2.0 Descriptors Specification for reference.
 */

#define SAMPLE_MSOS2_VENDOR_CODE 0x02U
/* Windows version (10)*/
#define SAMPLE_MSOS2_OS_VERSION  0x0A000000UL

/* random GUID {FA611CC3-7057-42EE-9D82-4919639562B3} */
#define WEBUSB_DEVICE_INTERFACE_GUID                                                               \
	'{', 0x00, 'F', 0x00, 'A', 0x00, '6', 0x00, '1', 0x00, '1', 0x00, 'C', 0x00, 'C', 0x00,    \
		'3', 0x00, '-', 0x00, '7', 0x00, '0', 0x00, '5', 0x00, '7', 0x00, '-', 0x00, '4',  \
		0x00, '2', 0x00, 'E', 0x00, 'E', 0x00, '-', 0x00, '9', 0x00, 'D', 0x00, '8', 0x00, \
		'2', 0x00, '-', 0x00, '4', 0x00, '9', 0x00, '1', 0x00, '9', 0x00, '6', 0x00, '3',  \
		0x00, '9', 0x00, '5', 0x00, '6', 0x00, '2', 0x00, 'B', 0x00, '3', 0x00, '}', 0x00, \
		0x00, 0x00, 0x00, 0x00

#define CDC_ACM_DESCRIPTOR_LENGTH 160

struct msosv2_descriptor {
	struct msosv2_descriptor_set_header header;
#if defined(CONFIG_USBD_CDC_ACM_CLASS)
	/*
	 * The composition of this descriptor is specific to the WebUSB example
	 * in its default configuration. If you use it for your application or
	 * change the configuration, you may need to modify this descriptor for
	 * your USB device. The following only covers the case where the CDC
	 * ACM implementation is enabled, and there is only one CDC ACM UART
	 * instance, and the CDC ACM communication interface is the first in
	 * the configuration.
	 */
	struct msosv2_function_subset_header subset_header;
#endif
	struct msosv2_compatible_id compatible_id;
	struct msosv2_guids_property guids_property;
} __packed;

static struct msosv2_descriptor msosv2_desc = {
	.header =
		{
			.wLength = sizeof(struct msosv2_descriptor_set_header),
			.wDescriptorType = MS_OS_20_SET_HEADER_DESCRIPTOR,
			.dwWindowsVersion = sys_cpu_to_le32(SAMPLE_MSOS2_OS_VERSION),
			.wTotalLength = sizeof(msosv2_desc),
		},
#if defined(CONFIG_USBD_CDC_ACM_CLASS)
	.subset_header =
		{
			.wLength = sizeof(struct msosv2_function_subset_header),
			.wDescriptorType = MS_OS_20_SUBSET_HEADER_FUNCTION,
			.bFirstInterface = 0,
			.wSubsetLength = CDC_ACM_DESCRIPTOR_LENGTH,
		},
#endif
	.compatible_id =
		{
			.wLength = sizeof(struct msosv2_compatible_id),
			.wDescriptorType = MS_OS_20_FEATURE_COMPATIBLE_ID,
			.CompatibleID = {'W', 'I', 'N', 'U', 'S', 'B', 0x00, 0x00},
		},
	.guids_property =
		{
			.wLength = sizeof(struct msosv2_guids_property),
			.wDescriptorType = MS_OS_20_FEATURE_REG_PROPERTY,
			.wPropertyDataType = MS_OS_20_PROPERTY_DATA_REG_MULTI_SZ,
			.wPropertyNameLength = 42,
			.PropertyName = {DEVICE_INTERFACE_GUIDS_PROPERTY_NAME},
			.wPropertyDataLength = 80,
			.bPropertyData = {WEBUSB_DEVICE_INTERFACE_GUID},
		},
};

struct bos_msosv2_descriptor {
	struct usb_bos_platform_descriptor platform;
	struct usb_bos_capability_msos cap;
} __packed;

struct bos_msosv2_descriptor bos_msosv2_desc = {
	/*
	 * Microsoft OS 2.0 Platform Capability Descriptor,
	 * see Microsoft OS 2.0 Descriptors Specification
	 */
	.platform =
		{
			.bLength = sizeof(struct usb_bos_platform_descriptor) +
				   sizeof(struct usb_bos_capability_msos),
			.bDescriptorType = USB_DESC_DEVICE_CAPABILITY,
			.bDevCapabilityType = USB_BOS_CAPABILITY_PLATFORM,
			.bReserved = 0,
			/* Microsoft OS 2.0 descriptor platform capability UUID
			 * D8DD60DF-4589-4CC7-9CD2-659D9E648A9F
			 */
			.PlatformCapabilityUUID =
				{
					0xDF,
					0x60,
					0xDD,
					0xD8,
					0x89,
					0x45,
					0xC7,
					0x4C,
					0x9C,
					0xD2,
					0x65,
					0x9D,
					0x9E,
					0x64,
					0x8A,
					0x9F,
				},
		},
	.cap = {.dwWindowsVersion = sys_cpu_to_le32(SAMPLE_MSOS2_OS_VERSION),
		.wMSOSDescriptorSetTotalLength = sys_cpu_to_le16(sizeof(msosv2_desc)),
		.bMS_VendorCode = SAMPLE_MSOS2_VENDOR_CODE,
		.bAltEnumCode = 0x00},
};

static int msosv2_to_host_cb(const struct usbd_context *const ctx,
			     const struct usb_setup_packet *const setup, struct net_buf *const buf)
{
	LOG_INF("Vendor callback to host");

	if (setup->bRequest == SAMPLE_MSOS2_VENDOR_CODE &&
	    setup->wIndex == MS_OS_20_DESCRIPTOR_INDEX) {
		LOG_INF("Get MS OS 2.0 Descriptor Set");

		net_buf_add_mem(buf, &msosv2_desc, MIN(net_buf_tailroom(buf), sizeof(msosv2_desc)));

		return 0;
	}

	return -ENOTSUP;
}

USBD_DESC_BOS_VREQ_DEFINE(bos_vreq_msosv2, sizeof(bos_msosv2_desc), &bos_msosv2_desc,
			  SAMPLE_MSOS2_VENDOR_CODE, msosv2_to_host_cb, NULL);

#endif /* ZEPHYR_INCLUDE_MSOSV2_DESCRIPTOR_H */
```

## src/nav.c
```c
#include <zephyr/kernel.h>
#include <zephyr/input/input.h>
#include <stdbool.h>

#include "alarm.h"
#include "screen_ui.h"
#include "time.h"
#include "nav.h"

// Button values based on input key scancodes.
enum timechime_nav_buttons {
	NAV_BUTTON_0 = 11,
	NAV_BUTTON_1 = 2,
	NAV_BUTTON_2 = 3,
	NAV_BUTTON_3 = 4,
};

typedef enum {
	TIMECHIME_NAV_STATE_SHOW_TIME,
	TIMECHIME_NAV_STATE_NEXT_ALARM,
	TIMECHIME_NAV_STATE_ALARM_LIST,
	TIMECHIME_NAV_STATE_EDIT_SOUND,
	NUM_TIMECHIME_NAV_STATES
} timechime_nav_state_t;

static timechime_nav_state_t current_state = TIMECHIME_NAV_STATE_SHOW_TIME;
static bool needs_screen_update_val = true;

static void button_input_cb(struct input_event *evt, void *user_data)
{
	if (evt->sync == 0) {
		return;
	}

	if (evt->value) {
		timechime_nav_update_state(evt->code);
	}
}

INPUT_CALLBACK_DEFINE(NULL, button_input_cb, NULL);

void timechime_nav_init()
{
	timechime_nav_go_to_state(TIMECHIME_NAV_STATE_SHOW_TIME);
	timechime_screen_init();
}

// ----- Nav state machine -----

uint32_t last_state_change_time = 0;

void timechime_nav_update_state(uint16_t button)
{
	last_state_change_time = k_uptime_get_32();

	switch (current_state) {
	case TIMECHIME_NAV_STATE_SHOW_TIME:
		nav_state_update_show_time(button);
		break;
	case TIMECHIME_NAV_STATE_NEXT_ALARM:
		nav_state_update_next_alarm(button);
		break;
	case TIMECHIME_NAV_STATE_ALARM_LIST:
		nav_state_update_alarm_list(button);
		break;
	case TIMECHIME_NAV_STATE_EDIT_SOUND:
		nav_state_update_edit_sound(button);
		break;
	default:
		timechime_nav_go_to_state(TIMECHIME_NAV_STATE_SHOW_TIME);
		break;
	}
}

// Initialize a new nav state.
void timechime_nav_go_to_state(timechime_nav_state_t state)
{
	if (state < NUM_TIMECHIME_NAV_STATES) {
		current_state = state;
		needs_screen_update_val = true;
	}
}

// Show time screen button mapping.
static enum timechime_nav_show_time_buttons {
	NAV_BUTTON_SHOW_TIME_ALARM_LIST = NAV_BUTTON_0,
	NAV_BUTTON_SHOW_TIME_NEXT_ALARM = NAV_BUTTON_3,
};

// State update in show time screen.
void nav_state_update_show_time(uint16_t button)
{
	switch (button) {
	case NAV_BUTTON_SHOW_TIME_ALARM_LIST:
		timechime_nav_go_to_state(TIMECHIME_NAV_STATE_ALARM_LIST);
		break;
	case NAV_BUTTON_SHOW_TIME_NEXT_ALARM:
		timechime_nav_go_to_state(TIMECHIME_NAV_STATE_NEXT_ALARM);
		break;
	default:
		break;
	}
}

// Next alarm screen button mapping.
static enum timechime_nav_next_alarm_buttons {
	NAV_BUTTON_NEXT_ALARM_ALARM_LIST = NAV_BUTTON_0,
	NAV_BUTTON_NEXT_ALARM_SHOW_TIME = NAV_BUTTON_3,
};

// State update in next alarm screen.
void nav_state_update_next_alarm(uint16_t button)
{
	switch (button) {
	case NAV_BUTTON_NEXT_ALARM_ALARM_LIST:
		timechime_nav_go_to_state(TIMECHIME_NAV_STATE_ALARM_LIST);
		break;
	case NAV_BUTTON_NEXT_ALARM_SHOW_TIME:
		timechime_nav_go_to_state(TIMECHIME_NAV_STATE_SHOW_TIME);
		break;
	default:
		break;
	}
}

// Alarm list screen button mapping.
static enum timechime_nav_alarm_list_buttons {
	NAV_BUTTON_ALARM_LIST_UP = NAV_BUTTON_0,
	NAV_BUTTON_ALARM_LIST_DOWN = NAV_BUTTON_1,
	NAV_BUTTON_ALARM_LIST_EDIT_SOUND = NAV_BUTTON_2,
	NAV_BUTTON_ALARM_LIST_TOGGLE = NAV_BUTTON_3,
};

static volatile uint8_t selected_alarm_index = 0;
static volatile uint8_t selected_sound_index = 0;

// State update in alarm list screen.
void nav_state_update_alarm_list(uint16_t button)
{
	uint8_t alarm_count = timechime_alarm_get_count();

	// Ignore buttons when there are no alarms
	if (alarm_count == 0) {
		return;
	}

	switch (button) {
	case NAV_BUTTON_ALARM_LIST_EDIT_SOUND:
		selected_sound_index = 0;
		timechime_nav_go_to_state(TIMECHIME_NAV_STATE_EDIT_SOUND);
		break;
	case NAV_BUTTON_ALARM_LIST_UP:
		if (selected_alarm_index > 0) {
			selected_alarm_index--;
		} else {
			selected_alarm_index = alarm_count - 1;
		}
		break;
	case NAV_BUTTON_ALARM_LIST_DOWN:
		if (selected_alarm_index + 1 < alarm_count) {
			selected_alarm_index++;
		} else {
			selected_alarm_index = 0;
		}
		break;
	case NAV_BUTTON_ALARM_LIST_TOGGLE:
		timechime_alarm_toggle_enabled(selected_alarm_index);
		break;
	default:
		break;
	}

	needs_screen_update_val = true;
}

// Sound selection screen button mapping.
static enum timechime_nav_edit_sound_buttons {
	NAV_BUTTON_EDIT_SOUND_UP = NAV_BUTTON_0,
	NAV_BUTTON_EDIT_SOUND_DOWN = NAV_BUTTON_1,
	NAV_BUTTON_EDIT_SOUND_BACK = NAV_BUTTON_2,
	NAV_BUTTON_EDIT_SOUND_SELECT = NAV_BUTTON_3,
};

// State update in sound selection screen.
void nav_state_update_edit_sound(uint16_t button)
{
	uint8_t sound_count = timechime_sound_get_count();

	// Ignore buttons other than back when there are no sounds
	if (sound_count == 0 && button != NAV_BUTTON_EDIT_SOUND_BACK) {
		return;
	}

	switch (button) {
	case NAV_BUTTON_EDIT_SOUND_BACK:
		timechime_nav_go_to_state(TIMECHIME_NAV_STATE_ALARM_LIST);
		break;
	case NAV_BUTTON_EDIT_SOUND_UP:
		if (selected_sound_index > 0) {
			selected_sound_index--;
		} else {
			selected_sound_index = sound_count - 1;
		}
		break;
	case NAV_BUTTON_EDIT_SOUND_DOWN:
		if (selected_sound_index + 1 < sound_count) {
			selected_sound_index++;
		} else {
			selected_sound_index = 0;
		}
		break;
	case NAV_BUTTON_EDIT_SOUND_SELECT:
		timechime_alarm_set_sound(selected_alarm_index, selected_sound_index);
		timechime_nav_go_to_state(TIMECHIME_NAV_STATE_ALARM_LIST);
		break;
	default:
		break;
	}

	needs_screen_update_val = true;
}

// ----- Looped nav screen updates -----

void timechime_nav_update()
{
	switch (current_state) {
	case TIMECHIME_NAV_STATE_SHOW_TIME:
		nav_update_show_time();
		break;
	case TIMECHIME_NAV_STATE_ALARM_LIST:
		nav_update_alarm_list();
		break;
	case TIMECHIME_NAV_STATE_NEXT_ALARM:
		nav_update_next_alarm();
		break;
	case TIMECHIME_NAV_STATE_EDIT_SOUND:
		nav_update_edit_sound();
		break;
	default:
		break;
	}
}

// Check if screen needs update and reset flag.
static bool needs_screen_update()
{
	if (needs_screen_update_val) {
		needs_screen_update_val = false;
		return true;
	}

	return false;
}

// Repeated time screen update.
static bool initial_time_update_done = false;

void nav_update_show_time()
{
	if (!initial_time_update_done && needs_screen_update()) {
		timechime_screen_ui_clear();
		timechime_screen_draw_gps_search();

		timechime_screen_draw_button_indicator_set(
			(timechime_sprite_t[]){TIMECHIME_SPRITE_GEAR, TIMECHIME_SPRITE_NONE,
					       TIMECHIME_SPRITE_NONE, TIMECHIME_SPRITE_BELL});

		timechime_screen_wait();
	} else if (timechime_time_updated() || needs_screen_update()) {
		initial_time_update_done = true;

		timechime_screen_ui_clear();
		timechime_screen_draw_current_time(
			timechime_time_get_current_hour(), timechime_time_get_current_minute(),
			timechime_time_using_12hr_format(), timechime_time_current_time_is_pm());

		timechime_screen_draw_button_indicator_set(
			(timechime_sprite_t[]){TIMECHIME_SPRITE_GEAR, TIMECHIME_SPRITE_NONE,
					       TIMECHIME_SPRITE_NONE, TIMECHIME_SPRITE_BELL});

		timechime_screen_wait();
		timechime_alarm_check_and_queue();
	}
}

// Repeated next alarm screen update.
static uint8_t last_next_alarm_index = TIMECHIME_MAX_ALARMS;

void nav_update_next_alarm()
{
	if (!initial_time_update_done && needs_screen_update()) {
		timechime_screen_ui_clear();
		timechime_screen_draw_gps_search();

		timechime_screen_draw_button_indicator_set(
			(timechime_sprite_t[]){TIMECHIME_SPRITE_GEAR, TIMECHIME_SPRITE_NONE,
					       TIMECHIME_SPRITE_NONE, TIMECHIME_SPRITE_TIME});

		timechime_screen_wait();
	}

	bool next_alarm_updated = false;
	bool needs_update = needs_screen_update();

	if (needs_update || timechime_time_updated()) {
		initial_time_update_done = true;

		uint8_t next_alarm_index = timechime_alarm_get_next(
			timechime_time_get_current_hour_24(), timechime_time_get_current_minute());

		if (last_next_alarm_index != next_alarm_index) {
			next_alarm_updated = true;
			last_next_alarm_index = next_alarm_index;
		}

		timechime_alarm_check_and_queue();
	}

	// Do not refresh screen unless update needed or next alarm changed.
	if (needs_update || next_alarm_updated) {
		timechime_alarm_t *next_alarm;
		if (timechime_alarm_get(last_next_alarm_index, &next_alarm)) {
			timechime_screen_ui_clear();

			if (timechime_time_using_12hr_format()) {
				uint8_t hour = timechime_time_convert_to_12_hour(next_alarm->hour);
				bool is_pm = next_alarm->hour >= 12;

				timechime_screen_draw_next_alarm(hour, next_alarm->minute, true,
								 is_pm);
			} else {
				timechime_screen_draw_next_alarm(next_alarm->hour,
								 next_alarm->minute, false, false);
			}

			timechime_screen_draw_button_indicator_set((timechime_sprite_t[]){
				TIMECHIME_SPRITE_GEAR, TIMECHIME_SPRITE_NONE, TIMECHIME_SPRITE_NONE,
				TIMECHIME_SPRITE_TIME});
			timechime_screen_wait();
		}
	}
}

// Repeated alarm list screen update.
void nav_update_alarm_list()
{
	uint32_t current_time = k_uptime_get_32();
	// Go back to default screen after 1 minute of inactivity.
	if (current_time - last_state_change_time > 60000) {
		timechime_nav_go_to_state(TIMECHIME_NAV_STATE_SHOW_TIME);
	}

	// Refresh screen after inputs + 1 second of inactivity.
	else if (current_time - last_state_change_time > 1000 && needs_screen_update()) {
		timechime_screen_ui_clear();

		bool selected_alarm_enabled = false;
		uint8_t alarm_count = timechime_alarm_get_count();
		uint8_t alarm_index_mod = selected_alarm_index % TIMECHIME_SCREEN_UI_MAX_ALARMS;
		uint8_t start_index = selected_alarm_index - alarm_index_mod;
		for (uint8_t i = 0; i < TIMECHIME_SCREEN_UI_MAX_ALARMS; i++) {
			uint8_t alarm_index = start_index + i;
			if (alarm_index < alarm_count) {
				timechime_alarm_t *alarm;
				if (timechime_alarm_get(alarm_index, &alarm)) {
					timechime_screen_draw_alarm(
						i, alarm, alarm_index == selected_alarm_index);

					if (alarm_index == selected_alarm_index) {
						selected_alarm_enabled = alarm->enabled;
					}
				}
			}
		}

		timechime_screen_draw_button_indicator_set((timechime_sprite_t[]){
			TIMECHIME_SPRITE_ARROW_UP, TIMECHIME_SPRITE_ARROW_DOWN,
			TIMECHIME_SPRITE_SOUND_SELECT,
			selected_alarm_enabled ? TIMECHIME_SPRITE_TOGGLE_ON
					       : TIMECHIME_SPRITE_TOGGLE_OFF});

		timechime_screen_wait();
	}
}

// Repeated sound selection screen update.
void nav_update_edit_sound()
{
	uint32_t current_time = k_uptime_get_32();
	// Go back to default screen after 1 minute of inactivity.
	if (current_time - last_state_change_time > 60000) {
		timechime_nav_go_to_state(TIMECHIME_NAV_STATE_SHOW_TIME);
	}

	// Refresh screen after inputs + 1 second of inactivity.
	else if (current_time - last_state_change_time > 1000 && needs_screen_update()) {
		timechime_screen_ui_clear();

		uint8_t sound_count = timechime_sound_get_count();
		uint8_t sound_index_mod = selected_sound_index % TIMECHIME_SCREEN_UI_MAX_SOUNDS;
		uint8_t start_index = selected_sound_index - sound_index_mod;
		for (uint8_t i = 0; i < TIMECHIME_SCREEN_UI_MAX_SOUNDS; i++) {
			uint8_t sound_index = start_index + i;
			if (sound_index < sound_count) {
				timechime_screen_draw_sound(i, sound_index,
							    sound_index == selected_sound_index);
			}
		}

		timechime_screen_draw_button_indicator_set((timechime_sprite_t[]){
			TIMECHIME_SPRITE_ARROW_UP, TIMECHIME_SPRITE_ARROW_DOWN,
			TIMECHIME_SPRITE_BACK, TIMECHIME_SPRITE_CONFIRM});

		timechime_screen_wait();
	}
}
```

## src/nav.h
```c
#ifndef TIMECHIME_NAV_H
#define TIMECHIME_NAV_H

#include <stdint.h>

// Initialize navigation state machine and screen.
void timechime_nav_init();

// Update the state machine based on a button press.
void timechime_nav_update_state(uint16_t button);

// Update screen based on the current state.
void timechime_nav_update();

#endif
```

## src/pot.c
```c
#include <zephyr/drivers/adc.h>
#include <zephyr/sys/util.h>

#include "pot.h"

static const struct adc_dt_spec pot_channel = ADC_DT_SPEC_GET(DT_PATH(zephyr_user));
static bool pot_ready = false;

void timechime_pot_init()
{
	if (!adc_is_ready_dt(&pot_channel)) {
		return;
	}

	if (adc_channel_setup_dt(&pot_channel) != 0) {
		return;
	}

	pot_ready = true;
}

uint8_t timechime_pot_get_value()
{
	uint16_t sample = 0;
	struct adc_sequence sequence = {
		.buffer = &sample,
		.buffer_size = sizeof(sample),
	};

	if (!pot_ready) {
		return 0;
	}

	if (adc_sequence_init_dt(&pot_channel, &sequence) != 0) {
		return 0;
	}

	if (adc_read_dt(&pot_channel, &sequence) != 0) {
		return 0;
	}

	uint16_t max = BIT(pot_channel.resolution) - 1;

	if (sample > max) {
		sample = max;
	}

	return (uint8_t)(((uint32_t)sample * UINT8_MAX) / max);
}
```

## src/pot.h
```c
#ifndef TIMECHIME_POT_H
#define TIMECHIME_POT_H

#include <stdint.h>

void timechime_pot_init();
uint8_t timechime_pot_get_value();

#endif
```

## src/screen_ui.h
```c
#ifndef TIMECHIME_SCREEN_UI_H
#define TIMECHIME_SCREEN_UI_H

#include <stdbool.h>
#include <stdint.h>

#include "alarm.h"

#define TIMECHIME_SCREEN_UI_MAX_ALARMS 3
#define TIMECHIME_SCREEN_UI_MAX_SOUNDS 6

// The set of available sprites to display.
typedef enum {
	TIMECHIME_SPRITE_ARROW_UP,
	TIMECHIME_SPRITE_ARROW_DOWN,
	TIMECHIME_SPRITE_PLUS,
	TIMECHIME_SPRITE_BELL,
	TIMECHIME_SPRITE_SOUND_SELECT,
	TIMECHIME_SPRITE_TOGGLE_ON,
	TIMECHIME_SPRITE_TOGGLE_OFF,
	TIMECHIME_SPRITE_GEAR,
	TIMECHIME_SPRITE_TIME,
	TIMECHIME_SPRITE_TRASH,
	TIMECHIME_SPRITE_CONFIRM,
	TIMECHIME_SPRITE_BACK,
	TIMECHIME_SPRITE_GPSSEARCH,
	NUM_TIMECHIME_SPRITES,
	TIMECHIME_SPRITE_NONE
} timechime_sprite_t;

// Initialize screen hardware and LVGL and confirm device is available.
bool timechime_screen_init();

// Wait for display to update.
void timechime_screen_wait();

// Clear the screen and add base UI lines.
void timechime_screen_ui_clear();

// Draw the large current time
void timechime_screen_draw_current_time(uint8_t hour, uint8_t minute, bool show_am_pm, bool is_pm);

// Draw the next alarm time
void timechime_screen_draw_next_alarm(uint8_t hour, uint8_t minute, bool show_am_pm, bool is_pm);

// Draw search for GPS screen
void timechime_screen_draw_gps_search();

// Draw sprite for a specified button indicator.
void timechime_screen_draw_button_indicator(int button, timechime_sprite_t sprite);

// Draw a specific set of button indicators.
void timechime_screen_draw_button_indicator_set(timechime_sprite_t sprites[4]);

// Draw alarm data in a specific row.
void timechime_screen_draw_alarm(uint8_t row, timechime_alarm_t *alarm, bool selected);

// Draw sound data in a specific row.
void timechime_screen_draw_sound(uint8_t row, uint8_t sound_index, bool selected);

// Returns true while the screen is actively using the SPI bus.
bool timechime_screen_is_busy();

#endif
```
